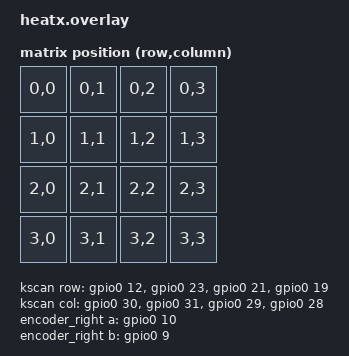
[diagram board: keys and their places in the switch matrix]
#include <dt-bindings/zmk/matrix_transform.h>
#include <dt-bindings/led/led.h>

/ {
    chosen {
        zmk,kscan = &kscan;
        zmk,matrix-transform = &default_transform;
        zmk,underglow = &led_strip;
    };

    /* ================= MATRIX ================= */
    kscan: kscan {
        compatible = "zmk,kscan-gpio-matrix";
        diode-direction = "col2row";

        col-gpios = <
            &gpio0 30 GPIO_ACTIVE_HIGH
            &gpio0 31 GPIO_ACTIVE_HIGH
            &gpio0 29 GPIO_ACTIVE_HIGH
            &gpio0 28 GPIO_ACTIVE_HIGH
        >;

        row-gpios = <
            &gpio0 12 (GPIO_ACTIVE_HIGH | GPIO_PULL_DOWN)
            &gpio0 23 (GPIO_ACTIVE_HIGH | GPIO_PULL_DOWN)
            &gpio0 21 (GPIO_ACTIVE_HIGH | GPIO_PULL_DOWN)
            &gpio0 19 (GPIO_ACTIVE_HIGH | GPIO_PULL_DOWN)
        >;
    };

    /* ================= MATRIX TRANSFORM ================= */
    default_transform: keymap_transform_0 {
        compatible = "zmk,matrix-transform";
        columns = <4>;
        rows = <4>;
        map = <
            RC(0,0) RC(0,1) RC(0,2) RC(0,3)
            RC(1,0) RC(1,1) RC(1,2) RC(1,3)
            RC(2,0) RC(2,1) RC(2,2) RC(2,3)
            RC(3,0) RC(3,1) RC(3,2) RC(3,3)
        >;
    };

    /* ================= RIGHT ENCODER ================= */
    encoder_right: encoder_right {
        compatible = "alps,ec11";
        a-gpios = <&gpio0 10 (GPIO_ACTIVE_LOW | GPIO_PULL_UP)>;
        b-gpios = <&gpio0 9  (GPIO_ACTIVE_LOW | GPIO_PULL_UP)>;
        steps = <24>;
        status = "okay";
    };

    sensors {
        compatible = "zmk,keymap-sensors";
        sensors = <&encoder_right>;

        encoder_right {
            triggers-per-rotation = <24>;
        };
    };
};

&pinctrl {
    spi3_default: spi3_default {
        group1 {
            psels = <NRF_PSEL(SPIM_MOSI, 1, 1)>;  /* P1.01 - RGB data pin */
        };
    };

    spi3_sleep: spi3_sleep {
        group1 {
            psels = <NRF_PSEL(SPIM_MOSI, 1, 1)>;
            low-power-enable;
        };
    };
};

&spi3 {
    compatible = "nordic,nrf-spim";
    status = "okay";
    pinctrl-0 = <&spi3_default>;
    pinctrl-1 = <&spi3_sleep>;
    pinctrl-names = "default", "sleep";

    led_strip: ws2812@0 {
        compatible = "worldsemi,ws2812-spi";
        reg = <0>;
        spi-max-frequency = <4000000>;
        chain-length = <15>;  /* 15 LEDs */
        spi-one-frame = <0x70>;
        spi-zero-frame = <0x40>;
        color-mapping = <LED_COLOR_ID_GREEN
                         LED_COLOR_ID_RED
                         LED_COLOR_ID_BLUE>;
    };
};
